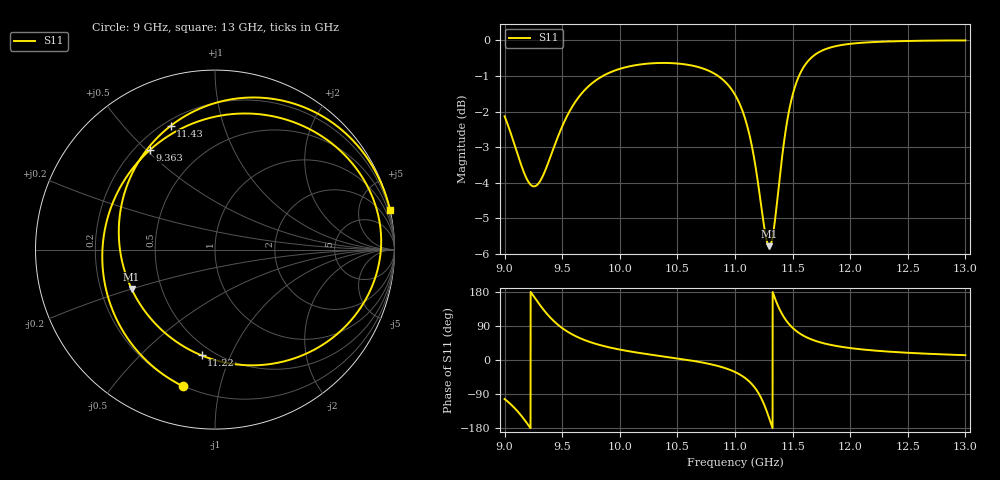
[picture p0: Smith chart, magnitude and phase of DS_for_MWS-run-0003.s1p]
! TOUCHSTONE file generated by CST DESIGN STUDIO
! Date and time: Tue Feb  4 16:47:08 2025
! Project name: C:\Work\MatlabApps\UnitCellOptimizationMatlab\CST\unitcell.cst
! Tree item: Tasks\Sweep1\SPara1\S-Parameters
! Header version: 2024
! Port assignment regex: !\s*Touchstone port\s*([0-9]+)\s*=\s*(CST MWS port|CST DES external port|CST DES block port)\s*(.+)\s* \(\"(.*)\"\)(\s*mode\s*([0-9]+))?.*
! Touchstone port assignment:
! Touchstone port 1 = CST DES external port 1 ("")
# GHz S MA R 50
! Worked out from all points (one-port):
!   4001 points, 9 GHz to 13 GHz, reference 50 ohm
!   lowest |S11| = -5.8 dB at 11.3 GHz (marker M1), VSWR 3.11, Z = 16.8 - j9.99 ohm
!   |S11| at or under -10 dB: nowhere
!   S11 on the Smith chart (normalised r, x): 9 GHz: 0.20, -0.77; 9.363 GHz: 0.26, +0.51; 11.22 GHz: 0.43, -0.78; 11.43 GHz: 0.23, +0.68; 13 GHz: 0.01, +9.02
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9  0.7822 -103.1
9.094  0.707 -129.2
9.199  0.6358 -168.8
9.275  0.6251 158.4
9.363  0.6628 123.4
9.428  0.7076 102.5
9.5  0.7571 84.2
9.605  0.8156 64.7
9.717  0.8585 50.0
10  0.912 27.5
10.5  0.9279 4.1
10.809  0.9003 -12.5
11  0.8388 -31.6
11.117  0.7464 -54.7
11.176  0.6683 -74.6
11.222  0.5941 -97.3
11.259  0.5395 -122.1
11.298  0.5138 -154.8
11.328  0.5313 178.6
11.358  0.5785 154.0
11.432  0.7326 109.7
11.5  0.838 84.9
11.588  0.9129 65.1
11.691  0.9539 51.2
11.822  0.9766 40.4
12  0.9889 31.5
12.5  0.9981 19.1
13  0.9998 12.7
